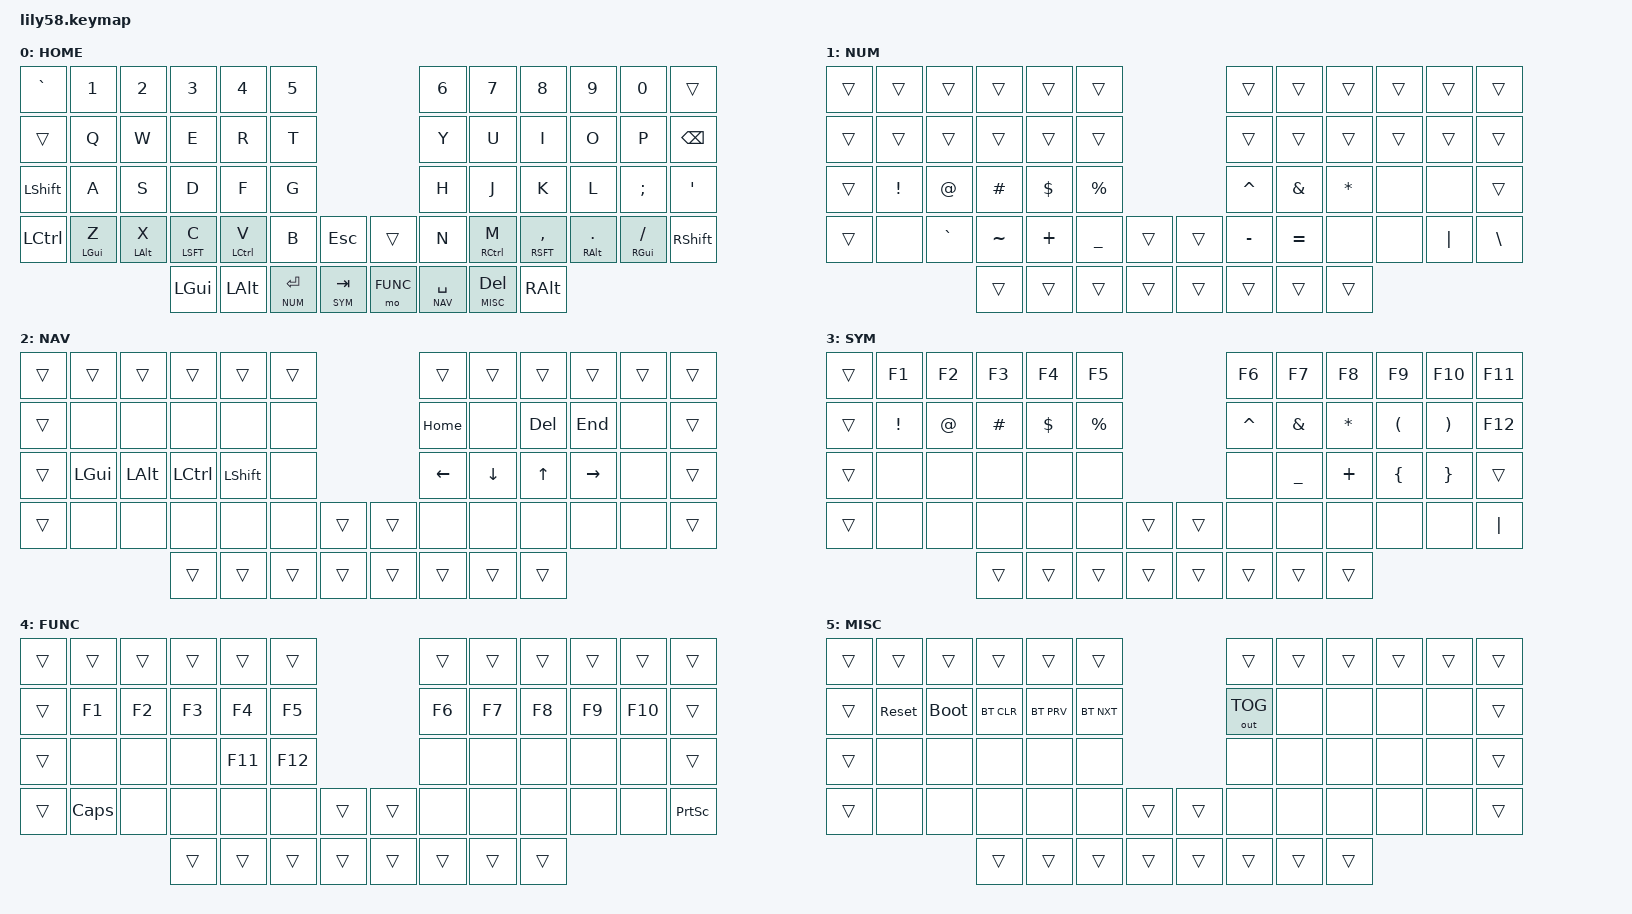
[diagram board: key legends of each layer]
/*
 * Copyright (c) 2020 The ZMK Contributors
 *
 * SPDX-License-Identifier: MIT
 */

#include <behaviors.dtsi>
#include <dt-bindings/zmk/keys.h>
#include <dt-bindings/zmk/bt.h>
#include <dt-bindings/zmk/outputs.h>

#define BASE 0
#define NUM  1
#define NAV  2
#define SYM  3
#define FUNC 4
#define MISC 5

&mt {
    quick-tap-ms = <100>;
    global-quick-tap;
    flavor = "tap-preferred";
    tapping-term-ms = <170>;
};

&lt {
    quick-tap-ms = <100>;
    global-quick-tap;
    flavor = "tap-preferred";
    tapping-term-ms = <170>;
};

/ {
    combos {
        compatible = "zmk,combos";

        // Vertical bracket combos: E+D ( , I+K ) , R+F { , U+J } , T+G [ , Y+H ]
        combo_lpar {
            timeout-ms = <50>;
            key-positions = <15 27>;
            bindings = <&kp LPAR>;
        };
        combo_rpar {
            timeout-ms = <50>;
            key-positions = <20 32>;
            bindings = <&kp RPAR>;
        };
        combo_lbrc {
            timeout-ms = <50>;
            key-positions = <16 28>;
            bindings = <&kp LBRC>;
        };
        combo_rbrc {
            timeout-ms = <50>;
            key-positions = <19 31>;
            bindings = <&kp RBRC>;
        };
        combo_lbkt {
            timeout-ms = <50>;
            key-positions = <17 29>;
            bindings = <&kp LBKT>;
        };
        combo_rbkt {
            timeout-ms = <50>;
            key-positions = <18 30>;
            bindings = <&kp RBKT>;
        };
        // U+I caps word, M+, backspace
        combo_caps_word {
            timeout-ms = <50>;
            key-positions = <19 20>;
            bindings = <&caps_word>;
        };
        combo_bspc {
            timeout-ms = <50>;
            key-positions = <45 46>;
            bindings = <&kp BSPC>;
        };
        // D+C copy, F+V paste
        combo_copy {
            timeout-ms = <50>;
            key-positions = <27 39>;
            bindings = <&kp LC(C)>;
        };
        combo_paste {
            timeout-ms = <50>;
            key-positions = <28 40>;
            bindings = <&kp LC(V)>;
        };
        minus {
            bindings = <&kp MINUS>;
            key-positions = <32 33>;
        };
        underscore {
            bindings = <&kp UNDERSCORE>;
            key-positions = <26 27>;
        };
    };

    keymap {
        compatible = "zmk,keymap";

        // Standard side modifiers (Esc/Ctrl/Shift, Bksp/'/Shift). Layer keys
        // sit on the inner thumbs: NUM+Enter, SYM+Tab, NAV+Space, FUNC.
        home_layer {
            label = "HOME";
            bindings = <
&kp GRAVE  &kp N1  &kp N2  &kp N3  &kp N4  &kp N5                      &kp N6  &kp N7  &kp N8    &kp N9   &kp N0    &trans
&trans    &kp Q   &kp W   &kp E   &kp R   &kp T                       &kp Y   &kp U   &kp I     &kp O    &kp P     &kp BSPC
&kp LSHFT  &kp A   &kp S   &kp D   &kp F   &kp G                       &kp H   &kp J   &kp K     &kp L    &kp SEMI  &kp SQT
&kp LCTRL  &mt LGUI Z  &mt LALT X  &mt LSFT C  &mt LCTL V  &kp B   &kp ESC   &trans     &kp N  &mt RCTL M  &mt RSFT COMMA  &mt RALT DOT  &mt RGUI FSLH  &kp RSHFT
                   &kp LGUI  &kp LALT  &lt NUM RET  &lt SYM TAB    &mo FUNC  &lt NAV SPACE  &lt MISC DEL  &kp RALT
            >;
        };

        // Numbers on top, shifted symbols on the home row below them.
        num_layer {
            label = "NUM";
            bindings = <
&trans  &trans    &trans    &trans    &trans    &trans                      &trans     &trans     &trans         &trans   &trans   &trans
&trans  &trans    &trans    &trans    &trans    &trans                      &trans     &trans     &trans         &trans   &trans   &trans
&trans  &kp EXCL  &kp AT    &kp HASH  &kp DLLR  &kp PRCNT                   &kp CARET  &kp AMPS   &kp ASTERISK   &none    &none    &trans
&trans  &none     &kp GRAVE &kp TILDE &kp PLUS  &kp UNDERSCORE  &trans &trans  &kp MINUS  &kp EQUAL  &none      &none    &kp PIPE &kp BSLH
                            &trans  &trans  &trans  &trans    &trans  &trans  &trans  &trans
            >;
        };

        nav_layer {
            label = "NAV";
            bindings = <
&trans  &trans     &trans    &trans     &trans     &trans                  &trans     &trans     &trans    &trans     &trans  &trans
&trans  &none      &none     &none      &none      &none                   &kp HOME   &none      &kp DEL   &kp END    &none   &trans
&trans  &kp LGUI   &kp LALT  &kp LCTRL  &kp LSHFT  &none                   &kp LEFT   &kp DOWN   &kp UP    &kp RIGHT  &none   &trans
&trans  &none      &none     &none      &none      &none   &trans  &trans  &none      &none      &none     &none      &none   &trans
                             &trans  &trans  &trans  &trans    &trans  &trans  &trans  &trans
            >;
        };

        sym_layer {
            label = "SYM";
            bindings = <
&trans  &kp F1     &kp F2    &kp F3     &kp F4     &kp F5                  &kp F6     &kp F7     &kp F8    &kp F9     &kp F10  &kp F11
&trans  &kp EXCL   &kp AT    &kp HASH   &kp DLLR   &kp PRCNT               &kp CARET  &kp AMPS        &kp ASTERISK   &kp LPAR  &kp RPAR  &kp F12
&trans  &none      &none     &none      &none      &none                   &none      &kp UNDERSCORE  &kp PLUS       &kp LBRC  &kp RBRC  &trans
&trans  &none      &none     &none      &none      &none   &trans  &trans  &none      &none           &none          &none     &none     &kp PIPE
                             &trans  &trans  &trans  &trans    &trans  &trans  &trans  &trans
            >;
        };

        func_layer {
            label = "FUNC";
            bindings = <
&trans  &trans     &trans    &trans     &trans     &trans                  &trans     &trans     &trans    &trans     &trans  &trans
&trans  &kp F1     &kp F2    &kp F3     &kp F4     &kp F5                  &kp F6     &kp F7     &kp F8    &kp F9     &kp F10 &trans
&trans  &none      &none     &none      &kp F11    &kp F12                 &none      &none      &none     &none      &none   &trans
&trans  &kp CAPS   &none     &none      &none      &none   &trans  &trans  &none      &none      &none     &none      &none   &kp PRINTSCREEN
                             &trans  &trans  &trans  &trans    &trans  &trans  &trans  &trans
            >;
        };

        // Reset / bootloader / Bluetooth controls.
        misc_layer {
            label = "MISC";
            bindings = <
&trans  &trans      &trans      &trans      &trans      &trans                  &trans        &trans  &trans  &trans  &trans  &trans
&trans  &sys_reset  &bootloader &bt BT_CLR  &bt BT_PRV  &bt BT_NXT              &out OUT_TOG  &none   &none   &none   &none   &trans
&trans  &none       &none       &none       &none       &none                   &none         &none   &none   &none   &none   &trans
&trans  &none       &none       &none       &none       &none   &trans  &trans  &none         &none   &none   &none   &none   &trans
                                &trans  &trans  &trans  &trans    &trans  &trans  &trans  &trans
            >;
        };
    };
};
